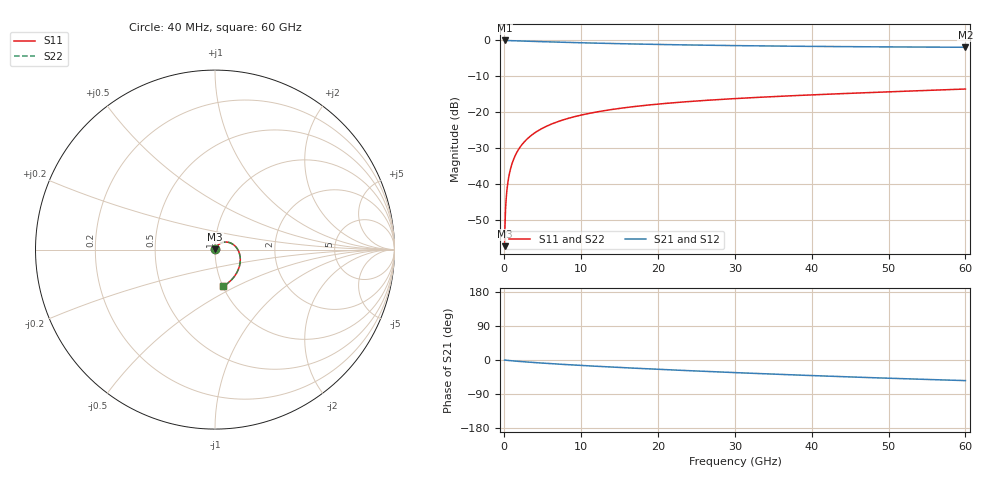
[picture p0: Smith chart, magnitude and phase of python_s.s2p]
! Created with skrf (http://scikit-rf.org).
# Hz S MA R 50.0
!freq magS11 angS11 magS21 angS21 magS12 angS12 magS22 angS22
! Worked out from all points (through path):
!   1500 points, 40 MHz to 60 GHz, reference 50 ohm
!   highest |S21| = 0.00 dB at 40 MHz (marker M1); lowest = -1.9 dB at 60 GHz (marker M2)
!   group delay of S21, straight-line fit = 2.39 ps
!   lowest |S11| = -57.4 dB at 40 MHz (marker M3), VSWR 1.00, Z = 50 + j0.129 ohm
!   |S11| at or under -10 dB: start of sweep to end of sweep
!   |S22| runs from -57.4 to -13.6 dB; largest |S21 - S12| = 0
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4e7  0.001347 73.4  0.9996 -0.1  0.9996 -0.1  0.001347 73.4
1.6e8  0.004366 70.8  0.9986 -0.4  0.9986 -0.4  0.004366 70.8
3.6e8  0.008494 68.0  0.9969 -0.9  0.9969 -0.9  0.008494 68.0
4e8  0.009247 67.5  0.9966 -1.0  0.9966 -1.0  0.009247 67.5
5.2e8  0.01141 66.3  0.9956 -1.2  0.9956 -1.2  0.01141 66.3
6.4e8  0.01344 65.1  0.9946 -1.4  0.9946 -1.4  0.01344 65.1
8.8e8  0.01722 63.1  0.9926 -1.9  0.9926 -1.9  0.01722 63.1
1.2e9  0.02182 60.8  0.99 -2.5  0.99 -2.5  0.02182 60.8
1.56e9  0.02656 58.5  0.9871 -3.1  0.9871 -3.1  0.02656 58.5
2e9  0.03186 55.9  0.9836 -3.8  0.9836 -3.8  0.03186 55.9
2.56e9  0.03801 52.9  0.9792 -4.7  0.9792 -4.7  0.03801 52.9
3.24e9  0.04479 49.7  0.9739 -5.8  0.9739 -5.8  0.04479 49.7
4e9  0.05166 46.3  0.9682 -6.8  0.9682 -6.8  0.05166 46.3
4.92e9  0.05918 42.5  0.9614 -8.1  0.9614 -8.1  0.05918 42.5
7.16e9  0.07484 34.3  0.9459 -11.0  0.9459 -11.0  0.07484 34.3
1.004e10  0.0911 24.9  0.9278 -14.4  0.9278 -14.4  0.0911 24.9
1.44e10  0.1104 12.3  0.9041 -19.1  0.9041 -19.1  0.1104 12.3
2.004e10  0.1295 -2.1  0.8791 -24.5  0.8791 -24.5  0.1295 -2.1
3.004e10  0.1545 -24.3  0.8472 -33.3  0.8472 -33.3  0.1545 -24.3
4.004e10  0.174 -43.8  0.8261 -41.1  0.8261 -41.1  0.174 -43.8
5.004e10  0.1919 -61.4  0.8122 -48.1  0.8122 -48.1  0.1919 -61.4
6e10  0.21 -77.2  0.8032 -54.4  0.8032 -54.4  0.21 -77.2
